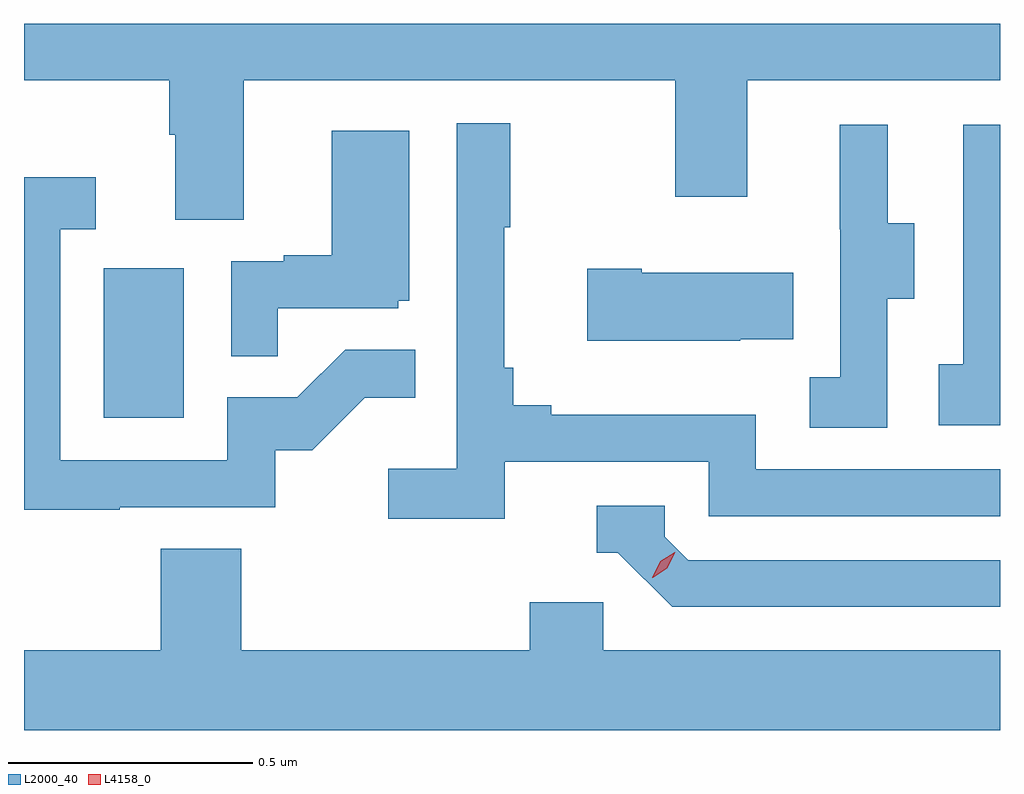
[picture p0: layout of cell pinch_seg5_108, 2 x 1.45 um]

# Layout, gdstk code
import gdstk
lib = gdstk.Library(unit=1e-6, precision=1e-09)
def R(c, l, rs):  # rectangles x0, y0, x1, y1
    for r in rs: c.add(gdstk.rectangle(r[:2], r[2:], *l))
def P(c, l, *ps):  # polygons
    for p in ps: c.add(gdstk.Polygon(p, *l))
L2000_40 = (2000, 40)
L4158_0 = (4158, 0)

pinch_seg5_108 = lib.new_cell('pinch_seg5_108')
R(pinch_seg5_108, L2000_40, [(1041.776,893.364,1041.94,893.671)])
P(pinch_seg5_108, L2000_40, [(1042.063,894.056),(1042.948,894.056),(1042.948,893.817),(1043.095,893.817),(1043.095,894.056),(1043.613,894.056),(1043.613,894.172),(1041.613,894.172),(1041.613,894.056),(1041.911,894.056),(1041.911,893.944),(1041.923,893.944),(1041.923,893.77),(1042.063,893.77)],
  [(1042.598,893.274),(1043.016,893.274),(1043.016,893.163),(1043.613,893.163),(1043.613,893.259),(1043.112,893.259),(1043.112,893.371),(1042.693,893.371),(1042.693,893.39),(1042.616,893.39),(1042.616,893.467),(1042.597,893.467),(1042.597,893.755),(1042.609,893.755),(1042.609,893.968),(1042.5,893.968),(1042.5,893.26),(1042.359,893.26),(1042.359,893.158),(1042.598,893.158)],
  [(1043.382,893.608),(1043.437,893.608),(1043.437,893.763),(1043.383,893.763),(1043.383,893.965),(1043.285,893.965),(1043.285,893.751),(1043.286,893.751),(1043.286,893.447),(1043.223,893.447),(1043.223,893.344),(1043.382,893.344)],
  [(1043.613,893.965),(1043.538,893.965),(1043.538,893.474),(1043.487,893.474),(1043.487,893.349),(1043.613,893.349)],
  [(1042.133,893.589),(1042.38,893.589),(1042.38,893.604),(1042.402,893.604),(1042.402,893.953),(1042.244,893.953),(1042.244,893.698),(1042.145,893.698),(1042.145,893.685),(1042.038,893.685),(1042.038,893.491),(1042.133,893.491)],
  [(1041.809,893.181),(1042.128,893.181),(1042.128,893.298),(1042.204,893.298),(1042.311,893.405),(1042.415,893.405),(1042.415,893.504),(1042.271,893.504),(1042.173,893.406),(1042.029,893.406),(1042.029,893.277),(1041.687,893.277),(1041.687,893.751),(1041.76,893.751),(1041.76,893.857),(1041.613,893.857),(1041.613,893.176),(1041.809,893.176)],
  [(1043.081,893.525),(1043.189,893.525),(1043.189,893.662),(1042.879,893.662),(1042.879,893.67),(1042.767,893.67),(1042.767,893.522),(1043.081,893.522)],
  [(1043.613,893.073),(1042.974,893.073),(1042.926,893.121),(1042.926,893.184),(1042.787,893.184),(1042.787,893.088),(1042.83,893.088),(1042.941,892.977),(1043.613,892.977)],
  [(1043.613,892.888),(1042.8,892.888),(1042.8,892.986),(1042.649,892.986),(1042.649,892.888),(1042.058,892.888),(1042.058,893.096),(1041.893,893.096),(1041.893,892.888),(1041.613,892.888),(1041.613,892.724),(1043.613,892.724)])
P(pinch_seg5_108, L4158_0, [(1042.9,893.037),(1042.9,893.037),(1042.917,893.07),(1042.947,893.089),(1042.948,893.089),(1042.948,893.089),(1042.931,893.056),(1042.901,893.037)])

lib.write_gds('pinch_seg5_108.gds')
